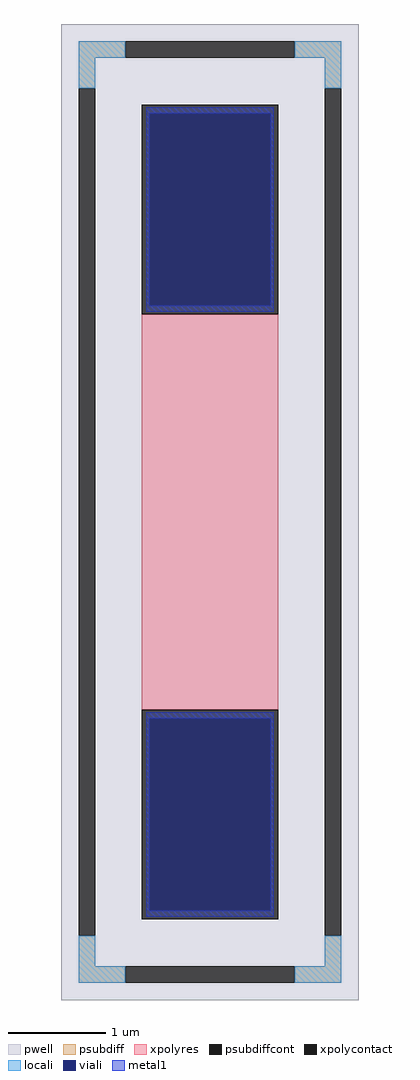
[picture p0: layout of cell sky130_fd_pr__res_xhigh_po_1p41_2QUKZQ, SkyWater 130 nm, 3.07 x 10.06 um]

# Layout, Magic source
magic
tech sky130A
magscale 1 2
<< pwell >>
rect -307 -1006 307 1006
<< psubdiff >>
rect -271 936 -175 970
rect 175 936 271 970
rect -271 874 -237 936
rect 237 874 271 936
rect -271 -936 -237 -874
rect 237 -936 271 -874
rect -271 -970 -175 -936
rect 175 -970 271 -936
<< psubdiffcont >>
rect -175 936 175 970
rect -271 -874 -237 874
rect 237 -874 271 874
rect -175 -970 175 -936
<< xpolycontact >>
rect -141 408 141 840
rect -141 -840 141 -408
<< xpolyres >>
rect -141 -408 141 408
<< locali >>
rect -271 936 -175 970
rect 175 936 271 970
rect -271 874 -237 936
rect 237 874 271 936
rect -271 -936 -237 -874
rect 237 -936 271 -874
rect -271 -970 -175 -936
rect 175 -970 271 -936
<< viali >>
rect -125 425 125 822
rect -125 -822 125 -425
<< metal1 >>
rect -131 822 131 834
rect -131 425 -125 822
rect 125 425 131 822
rect -131 413 131 425
rect -131 -425 131 -413
rect -131 -822 -125 -425
rect 125 -822 131 -425
rect -131 -834 131 -822
<< properties >>
string FIXED_BBOX -254 -953 254 953
string gencell sky130_fd_pr__res_xhigh_po_1p41
string library sky130
string parameters w 1.410 l 4.244 m 1 nx 1 wmin 1.410 lmin 0.50 rho 2000 val 6.286k dummy 0 dw 0.0 term 188.2 sterm 0.0 caplen 0 wmax 1.410 guard 1 glc 1 grc 1 gtc 1 gbc 1 compatible {sky130_fd_pr__res_xhigh_po_0p35  sky130_fd_pr__res_xhigh_po_0p69 sky130_fd_pr__res_xhigh_po_1p41  sky130_fd_pr__res_xhigh_po_2p85 sky130_fd_pr__res_xhigh_po_5p73} snake 0 full_metal 1 n_guard 0 hv_guard 0 vias 1 viagb 0 viagt 0 viagl 0 viagr 0
<< end >>
